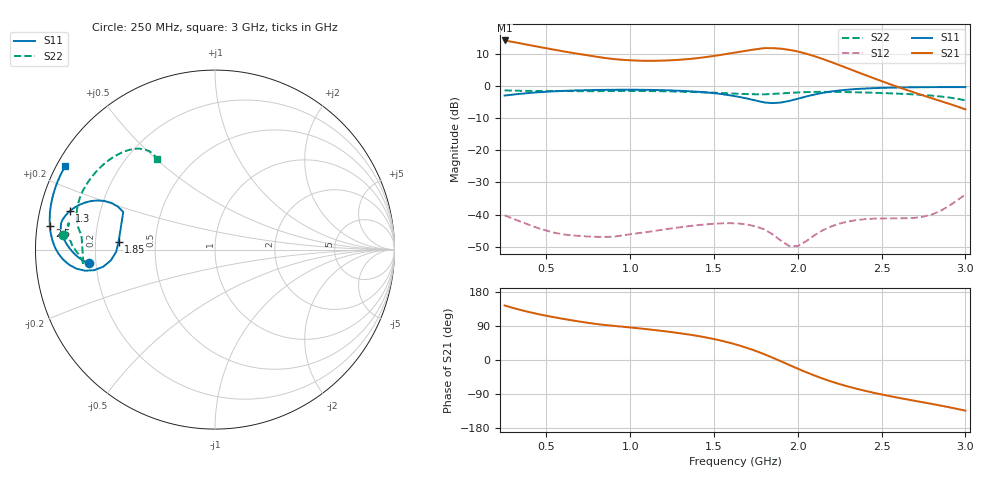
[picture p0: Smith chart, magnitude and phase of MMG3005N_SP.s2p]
! Copyright - Freescale Semiconductor, Inc., 2005-2006.
! Rev. 0
! MMG3005NT1 S-Parameters
# Hz S  MA  R 50
! Scattering Parameters
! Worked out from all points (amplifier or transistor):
!   56 points, 250 MHz to 3 GHz, reference 50 ohm
!   highest |S21| = 14.1 dB at 250 MHz (marker M1)
!   |S21| within 3 dB of that: start of sweep to 560 MHz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
!   unconditionally stable (mu >= 1): start of sweep to end of sweep
!   at 700 MHz: K = 3.21, MAG = 20.3 dB, |S12| = -46.6 dB
!   at 1.65 GHz: K = 4.55, MAG = 17.1 dB, |S12| = -42.8 dB
!   at 3 GHz: K = 3.17, MAG = 5.3 dB, |S12| = -33.7 dB
!   S11 on the Smith chart (normalised r, x): 250 MHz: 0.17, -0.05; 1.3 GHz: 0.09, +0.13; 1.85 GHz: 0.30, +0.04; 2.5 GHz: 0.04, +0.07; 3 GHz: 0.02, +0.26
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2.5e8  0.7058 -173.8  5.06 143.9  0.009764 -49.7  0.8491 174.6
3.5e8  0.7544 -176.3  4.529 131.5  0.007726 -43.8  0.8376 172.1
5e8  0.8094 179.6  3.827 116.8  0.005659 -31.6  0.8322 170.4
6e8  0.8343 177.1  3.433 108.5  0.004943 -20.6  0.8296 169.8
7.5e8  0.857 174.2  2.963 98.0  0.00458 -5.8  0.8249 170.1
9.5e8  0.8695 171.1  2.537 88.0  0.004748 12.7  0.8319 172.0
1.2e9  0.8548 167.3  2.466 76.2  0.005887 19.7  0.8231 174.6
1.3e9  0.8371 165.2  2.543 70.4  0.006392 18.7  0.8116 176.1
1.5e9  0.7685 160.0  2.911 55.2  0.007232 9.0  0.7827 179.7
1.65e9  0.6726 156.3  3.364 38.4  0.007277 -7.6  0.7524 -176.9
1.75e9  0.5906 156.1  3.696 23.7  0.006567 -26.0  0.7394 -174.3
1.8e9  0.5522 157.8  3.847 15.2  0.005917 -38.8  0.7376 -173.2
1.85e9  0.539 175.5  3.847 6.0  0.004932 -55.4  0.7487 173.6
1.9e9  0.5508 -178.7  3.768 -3.6  0.003942 -78.2  0.7624 172.1
2e9  0.6304 -171.3  3.406 -23.0  0.003245 -147.4  0.7889 167.7
2.1e9  0.7333 -170.8  2.878 -41.1  0.004808 161.4  0.8042 162.0
2.2e9  0.8167 -174.1  2.335 -56.8  0.006581 135.5  0.8061 156.0
2.3e9  0.8728 -178.5  1.859 -70.0  0.007829 120.2  0.7987 150.2
2.5e9  0.9292 172.0  1.182 -90.9  0.008752 105.8  0.773 139.8
2.55e9  0.9361 169.7  1.061 -95.4  0.008777 105.2  0.7653 137.4
2.8e9  0.9542 158.7  0.6407 -116.0  0.01006 122.0  0.7041 127.0
3e9  0.9549 150.9  0.4315 -133.6  0.02061 133.7  0.596 122.5
